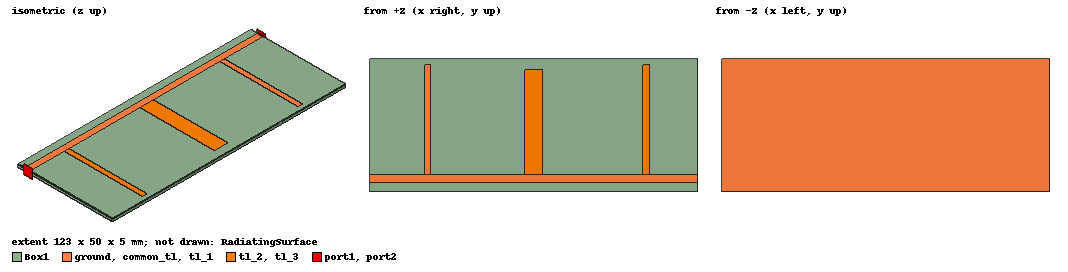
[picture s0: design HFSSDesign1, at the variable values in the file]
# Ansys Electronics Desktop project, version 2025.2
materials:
  copper: permeability=0.999991 conductivity=58000000
  vacuum: permittivity=1
  FR4_epoxy: permittivity=4.4 dielectric_loss_tangent=0.02

design HFSSDesign1 (HFSS, HFSS Terminal Network, model units mm)
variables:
  sub_l = 123mm
  sub_w = 50mm
  sub_w1 = 5mm
  sub_h = 1.54mm
  stub_l = 45mm
  tl1 = 2.94
  tl1_w = 2.984496mm
  tl1_w2 = 2.49286mm
  tl2_l = 40.9762mm
  tl3_w = 2.449286mm
  tl3_l = 41.2709mm
  tl2_w = 7.11132mm
  port_h = 5mm
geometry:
  Box1 [FR4_epoxy] = box(corner=(-sub_l /2, -sub_w1, -sub_h/2), size=(sub_l, sub_w1+stub_l, sub_h))
  ground = rectangle(corner=(-sub_l/2, -sub_w1, -sub_h/2), x_size=sub_l, y_size=sub_w1+stub_l)
  common_tl = rectangle(corner=(-sub_l/2, -tl1_w/2, sub_h/2), x_size=sub_l, y_size=tl1_w)
  tl_3 = rectangle(corner=(sub_l/2-tl2_l/2, tl1_w/2, sub_h/2), x_size=tl3_w, y_size=tl3_l)
  tl_1 = rectangle(corner=(-sub_l/2+tl2_l/2, tl1_w/2, sub_h/2), x_size=tl3_w, y_size=tl3_l)
  tl_2 = rectangle(corner=(-tl2_w/2, tl1_w/2, sub_h/2), x_size=tl2_w, y_size=39.3204mm)
  port1 = rectangle(corner=(sub_l/2, -tl1_w*1.2/2, -port_h/2), y_size=tl1_w*1.5, z_size=port_h)
  port2 = rectangle(corner=(-sub_l/2, -tl1_w*1.2/2, -port_h/2), y_size=tl1_w*1.5, z_size=port_h)
  RadiatingSurface [vacuum] = region(absolute_offset=100mm on all sides)
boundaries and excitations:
  PerfE1: Perfect E Objects=ground
  PerfE2: Perfect E Objects=[common_tl, tl_1, tl_2, tl_3]
  Open1: Radiation Objects=RadiatingSurface
  1: Lumped Port Objects=port1 LumpedPortType=Modal Modes{Mode1{IntLine{(61.5, 0.4476744, -2.5) -> (61.5, 0.4476744, 2.5)} CharImp=Zpi RenormImp=50ohm}} Impedance=50ohm
  2: Lumped Port Objects=port2 LumpedPortType=Modal Modes{Mode1{IntLine{(-61.5, 0.4476744, -2.5) -> (-61.5, 0.4476744, 2.5)} CharImp=Zpi RenormImp=50ohm}} Impedance=50ohm
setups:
  Setup1: HfssDriven Frequency=1GHz MaxDeltaS=0.02 MaximumPasses=15 MinimumPasses=1 MinimumConvergedPasses=1 PercentRefinement=30 BasisOrder=1 PortAccuracy=2 DrivenSolverType="Direct Solver"
    sweep Sweep: 0.1GHz to 2GHz, 401 points; Type=Fast SaveFields
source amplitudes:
  1:1: 1V 0deg
  2:1: 0V 0deg
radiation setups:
  3D: Infinite Sphere Theta=0deg..180deg step 2deg Phi=-180deg..180deg step 2deg
  Elevation: Infinite Sphere Theta=-180deg..180deg step 1deg Phi=0deg..90deg step 90deg
  Azimuth: Infinite Sphere Theta=90deg..90deg step 0deg Phi=-180deg..180deg step 1deg
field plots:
  Vector_E1: E Field over common_tl.face on Setup1 : LastAdaptive at Freq=1GHz Phase=0deg
  Mag_E_1ghz: E Field in Box1 on Setup1 : Sweep at Freq=1.0025GHz Phase=0deg
  Mag_E_0.1ghz: E Field in Box1 on Setup1 : Sweep at Freq=114.25MHz Phase=0deg
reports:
  Terminal S Parameter Plot3: dB(St(1,1)), dB(St(2,1)) vs Freq on Setup1 : Sweep; markers m1 at 0.67475GHz, m2 at 1.259GHz

design Circuit1 (Circuit)
options: SParamCircuitDef IntegrationMethod=FFT
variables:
  w1 = 2.94496mm
  p1 = 40.9762mm
  w2 = 7.11132mm
  p2 = 39.3204mm
  w3 = 2.49286mm
  p3 = 41.2709mm
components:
  A5 = MS_TRL(W=w1 P=p1)
  A26 = MS_TRL(W=w1 P=p1/2)
  A27 = MS_TRL(W=w1 P=p1)
  A28 = MS_TRL(W=w1 P=p1/2)
  A46 = MS_TRL(W=w2 P=p2)
  A47 = MS_TRL(W=w3 P=p3)
  A48 = MS_TRL(W=w3 P=p3)
  port Port1 rz=50ohm iz=0ohm EnableNoise=false noisetemp=16.85cel
  port Port2 rz=50ohm iz=0ohm EnableNoise=false noisetemp=16.85cel
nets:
  net_1: A5.0, A48.1, A26.1
  net_2: A5.1, A46.1, A27.0
  net_3: A28.0, A47.1, A27.1
  Port1: A26.0
  Port2: A28.1
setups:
  LinearFrequency: LinearFrequencyData(false, 0.1, false, "", false) SweepDefinition{Variable=Freq Data="LINC 0GHz 3GHz 1500"}
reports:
  S Parameter Plot1: dB(S(Port1,Port1)), dB(S(Port2,Port1)) vs Freq on LinearFrequency : LinearFrequency; markers m1 at 0.6784523GHz, m2 at 1.3466934GHz
